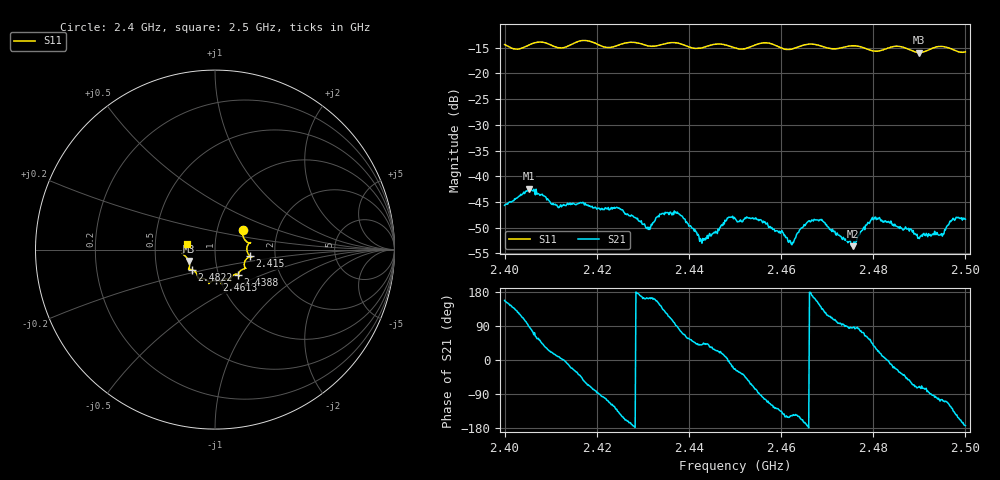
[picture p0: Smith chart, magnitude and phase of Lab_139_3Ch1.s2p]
# Hz S RI R
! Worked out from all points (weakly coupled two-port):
!   601 points, 2.4 GHz to 2.5 GHz, reference 50 ohm
!   highest |S21| = -42.45 dB at 2.4053 GHz (marker M1); lowest = -53.6 dB at 2.4757 GHz (marker M2)
!   lowest |S11| = -15.9 dB at 2.49 GHz (marker M3), VSWR 1.38, Z = 37 - j4.85 ohm
!   |S11| at or under -10 dB: start of sweep to end of sweep
!   S12 and S22 are empty: the file has one direction only
!   S11 on the Smith chart (normalised r, x): 2.4 GHz: 1.33, +0.31; 2.415 GHz: 1.47, -0.11; 2.4388 GHz: 1.24, -0.36; 2.4613 GHz: 0.96, -0.34; 2.4822 GHz: 0.76, -0.17; 2.5 GHz: 0.72, +0.05
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2.4e9  0.1555 0.1112  -0.0048 0.00201  0 0  0 0
2.405333e9  0.1859 0.0384  0.000318 0.00753  0 0  0 0
2.411333e9  0.1787 0.016  0.00513 0.00101  0 0  0 0
2.415e9  0.1933 -0.0347  0.00489 -0.00236  0 0  0 0
2.416667e9  0.2045 -0.042  0.00384 -0.00392  0 0  0 0
2.424667e9  0.1642 -0.0927  -0.00354 -0.00337  0 0  0 0
2.431167e9  0.1462 -0.1141  -0.00288 0.000945  0 0  0 0
2.433333e9  0.1325 -0.1326  -0.00359 0.00195  0 0  0 0
2.438833e9  0.1289 -0.1395  0.00149 0.00357  0 0  0 0
2.442833e9  0.0914 -0.1524  0.00169 0.00144  0 0  0 0
2.45e9  0.0685 -0.1635  0.00357 -0.00152  0 0  0 0
2.455833e9  0.0374 -0.1942  -0.0004 -0.00364  0 0  0 0
2.461333e9  0.00761 -0.1709  -0.0022 -0.00122  0 0  0 0
2.462667e9  -0.0118 -0.1741  -0.00182 -0.00131  0 0  0 0
2.466667e9  -0.0338 -0.1902  -0.0037 0.000625  0 0  0 0
2.475667e9  -0.0935 -0.161  0.000132 0.00208  0 0  0 0
2.48e9  -0.1068 -0.1268  0.00292 0.00236  0 0  0 0
2.482167e9  -0.1282 -0.1118  0.00352 0.000562  0 0  0 0
2.483333e9  -0.1394 -0.1102  0.00362 -0.000228  0 0  0 0
2.49e9  -0.1464 -0.064  0.000856 -0.00232  0 0  0 0
2.494833e9  -0.1821 -0.0216  -0.000687 -0.00267  0 0  0 0
2.5e9  -0.1586 0.0337  -0.00379 -0.000444  0 0  0 0
